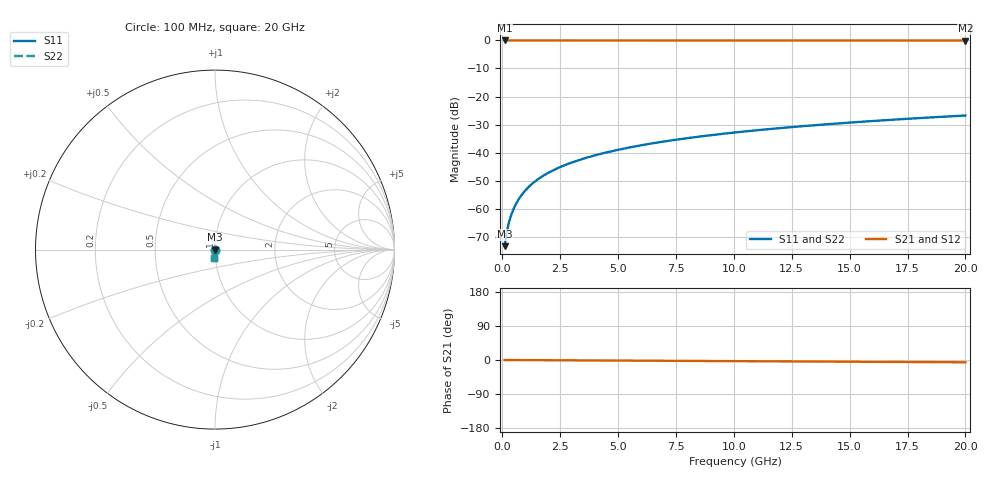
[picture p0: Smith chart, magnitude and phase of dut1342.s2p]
! Touchstone file exported from HFSS 2026.1.0
!  File:  C:/ffzhzh/LocalFiles/Ansys_Project_Files/temp_train_TSV_1342_1783195600_43440.aedt
!  Generated:  04:08:03 AM Jul  5, 2026
!  Design:  TSV
!  Project:  temp_train_TSV_1342_1783195600_43440
! Variables:
!  h_bsmrdl = 2um
!  h_ox = 20um
!  h_rdl = 5um
!  h_sub = 55.78um
!  h_tmrdl = 5um
!  h_tsv = 55.78um
!  h_via = 3um
!  l_bsmrdl = 300um
!  l_sub = 420.72um
!  l_tmrdl = 200um
!  m_sub = 200um
!  pitch = 28.47um
!  r_tsv = 10.36um
!  s_tmrdl = 10um
!  w_bsmrdl = 18um
!  w_sub = 500um
!  w_tmrdl = 12um
!  x_tsv_center1 = 206um
!  x_tsv_center2 = 524um
!  x_tsv_center3 = 736um
!  x_tsv_center4 = 1054um
!  x_tsv_center5 = 1266um
!  x_tsv_center6 = 1584um
# GHz S MA R 50.000000
! Terminal data exported
! Port[1] = TSV1_1_T1
! Port[2] = TSV1_1_T2
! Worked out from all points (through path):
!   200 points, 100 MHz to 20 GHz, reference 50 ohm
!   highest |S21| = 0.00 dB at 100 MHz (marker M1); lowest = 0.0 dB at 20 GHz (marker M2)
!   lowest |S11| = -73.4 dB at 100 MHz (marker M3), VSWR 1.00, Z = 50 - j0.0189 ohm
!   |S11| at or under -10 dB: start of sweep to end of sweep
!   |S22| runs from -73.4 to -26.8 dB; largest |S21 - S12| = 2.1e-15
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0.1  0.0002146 -61.6  0.9999 -0.0  0.9999 -0.0  0.0002146 -61.6
! Gamma 0 0 0 0
! Port Impedance 50 0 50 0
0.2  0.0003984 -73.2  0.9999 -0.1  0.9999 -0.1  0.0003984 -73.2
0.3  0.0005956 -77.0  0.9999 -0.1  0.9999 -0.1  0.0005956 -77.0
0.4  0.0008014 -78.8  0.9998 -0.1  0.9998 -0.1  0.0008014 -78.8
0.5  0.001014 -79.9  0.9998 -0.2  0.9998 -0.2  0.001014 -79.9
0.7  0.001453 -81.4  0.9998 -0.2  0.9998 -0.2  0.001453 -81.4
0.8  0.001676 -82.0  0.9998 -0.3  0.9998 -0.3  0.001676 -82.0
1  0.002126 -83.0  0.9997 -0.3  0.9997 -0.3  0.002126 -83.0
1.2  0.002579 -83.9  0.9997 -0.4  0.9997 -0.4  0.002579 -83.9
1.4  0.003032 -84.5  0.9997 -0.4  0.9997 -0.4  0.003032 -84.5
1.7  0.003712 -85.3  0.9997 -0.5  0.9997 -0.5  0.003712 -85.3
2  0.004391 -86.0  0.9996 -0.6  0.9996 -0.6  0.004391 -86.0
2.7  0.005977 -87.0  0.9996 -0.8  0.9996 -0.8  0.005977 -87.0
3.5  0.007795 -87.7  0.9995 -1.1  0.9995 -1.1  0.007795 -87.7
4.2  0.009391 -88.2  0.9995 -1.3  0.9995 -1.3  0.009391 -88.2
5  0.01122 -88.7  0.9994 -1.5  0.9994 -1.5  0.01122 -88.7
6.8  0.01536 -89.6  0.9992 -2.1  0.9992 -2.1  0.01536 -89.6
8.3  0.01882 -90.3  0.9991 -2.5  0.9991 -2.5  0.01882 -90.3
10.1  0.02298 -91.1  0.9989 -3.0  0.9989 -3.0  0.02298 -91.1
13.4  0.03061 -92.3  0.9986 -4.0  0.9986 -4.0  0.03061 -92.3
16.7  0.03824 -93.5  0.9983 -5.0  0.9983 -5.0  0.03824 -93.5
20  0.04588 -94.6  0.9978 -6.0  0.9978 -6.0  0.04588 -94.6
